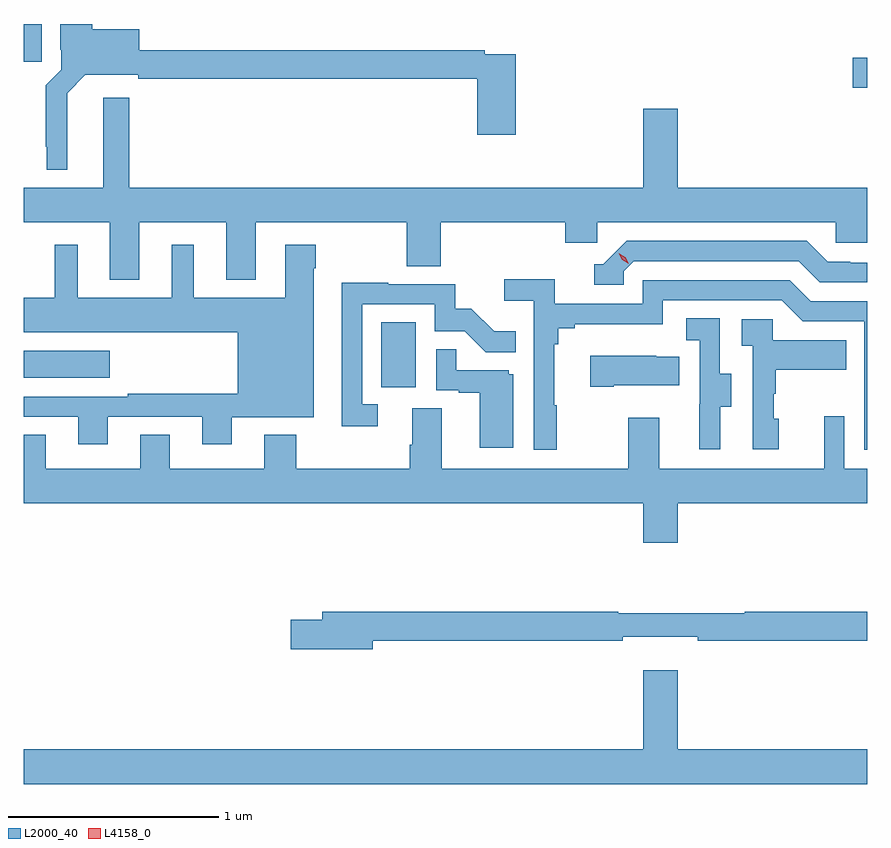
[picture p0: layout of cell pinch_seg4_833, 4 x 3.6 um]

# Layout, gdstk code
import gdstk
lib = gdstk.Library(unit=1e-6, precision=1e-09)
def R(c, l, rs):  # rectangles x0, y0, x1, y1
    for r in rs: c.add(gdstk.rectangle(r[:2], r[2:], *l))
def P(c, l, *ps):  # polygons
    for p in ps: c.add(gdstk.Polygon(p, *l))
L2000_40 = (2000, 40)
L4158_0 = (4158, 0)

pinch_seg4_833 = lib.new_cell('pinch_seg4_833')
R(pinch_seg4_833, L2000_40, [(859.07,801.366,859.234,801.673), (857.375,801.41,857.782,801.538), (861.306,802.786,861.375,802.928), (857.375,802.908,857.461,803.088)])
P(pinch_seg4_833, L2000_40, [(857.581,802.76),(857.667,802.847),(857.919,802.847),(857.919,802.828),(859.526,802.828),(859.526,802.563),(859.709,802.563),(859.709,802.944),(859.562,802.944),(859.562,802.964),(857.923,802.964),(857.923,803.062),(857.699,803.062),(857.699,803.088),(857.549,803.088),(857.549,802.966),(857.553,802.966),(857.553,802.872),(857.479,802.798),(857.479,802.507),(857.483,802.507),(857.483,802.397),(857.581,802.397)],
  [(857.923,802.148),(858.335,802.148),(858.335,801.875),(858.475,801.875),(858.475,802.148),(859.192,802.148),(859.192,801.94),(859.352,801.94),(859.352,802.148),(859.943,802.148),(859.943,802.05),(860.094,802.05),(860.094,802.148),(861.225,802.148),(861.225,802.05),(861.375,802.05),(861.375,802.312),(860.476,802.312),(860.476,802.687),(860.312,802.687),(860.312,802.312),(857.876,802.312),(857.876,802.738),(857.753,802.738),(857.753,802.312),(857.375,802.312),(857.375,802.148),(857.783,802.148),(857.783,801.875),(857.923,801.875)],
  [(860.22,801.915),(860.268,801.963),(861.051,801.963),(861.15,801.864),(861.375,801.864),(861.375,801.957),(861.294,801.957),(861.294,801.96),(861.187,801.96),(861.088,802.059),(860.235,802.059),(860.124,801.948),(860.081,801.948),(860.081,801.852),(860.22,801.852)],
  [(857.773,801.225),(858.221,801.225),(858.221,801.096),(858.361,801.096),(858.361,801.224),(858.751,801.224),(858.751,801.929),(858.759,801.929),(858.759,802.042),(858.614,802.042),(858.614,801.79),(858.181,801.79),(858.181,802.042),(858.077,802.042),(858.077,801.79),(857.632,801.79),(857.632,802.042),(857.522,802.042),(857.522,801.79),(857.375,801.79),(857.375,801.626),(858.389,801.626),(858.389,801.334),(857.869,801.334),(857.869,801.321),(857.375,801.321),(857.375,801.225),(857.633,801.225),(857.633,801.096),(857.773,801.096)],
  [(859.903,801.281),(859.891,801.281),(859.891,801.569),(859.91,801.569),(859.91,801.646),(859.987,801.646),(859.987,801.665),(860.406,801.665),(860.406,801.777),(860.97,801.777),(861.069,801.678),(861.36,801.678),(861.36,801.069),(861.375,801.069),(861.375,801.774),(861.106,801.774),(861.007,801.873),(860.31,801.873),(860.31,801.762),(859.892,801.762),(859.892,801.878),(859.653,801.878),(859.653,801.776),(859.794,801.776),(859.794,801.069),(859.903,801.069)],
  [(859.054,801.285),(858.981,801.285),(858.981,801.759),(859.323,801.759),(859.323,801.63),(859.467,801.63),(859.565,801.532),(859.709,801.532),(859.709,801.631),(859.605,801.631),(859.498,801.738),(859.422,801.738),(859.422,801.855),(859.103,801.855),(859.103,801.86),(858.884,801.86),(858.884,801.18),(859.054,801.18)],
  [(860.677,801.274),(860.731,801.274),(860.731,801.429),(860.676,801.429),(860.676,801.692),(860.517,801.692),(860.517,801.589),(860.58,801.589),(860.58,801.285),(860.579,801.285),(860.579,801.072),(860.677,801.072)],
  [(860.956,801.216),(860.931,801.216),(860.931,801.335),(860.941,801.335),(860.941,801.449),(861.275,801.449),(861.275,801.589),(860.928,801.589),(860.928,801.687),(860.781,801.687),(860.781,801.563),(860.832,801.563),(860.832,801.072),(860.956,801.072)],
  [(859.696,801.426),(859.674,801.426),(859.674,801.447),(859.427,801.447),(859.427,801.545),(859.332,801.545),(859.332,801.351),(859.439,801.351),(859.439,801.339),(859.538,801.339),(859.538,801.078),(859.696,801.078)],
  [(860.173,801.374),(860.483,801.374),(860.483,801.511),(860.375,801.511),(860.375,801.514),(860.061,801.514),(860.061,801.367),(860.173,801.367)],
  [(860.312,800.628),(860.476,800.628),(860.476,800.816),(861.375,800.816),(861.375,800.98),(861.267,800.98),(861.267,801.229),(861.17,801.229),(861.17,800.98),(860.389,800.98),(860.389,801.22),(860.242,801.22),(860.242,800.98),(859.357,800.98),(859.357,801.266),(859.217,801.266),(859.217,801.092),(859.205,801.092),(859.205,800.98),(858.668,800.98),(858.668,801.139),(858.515,801.139),(858.515,800.98),(858.067,800.98),(858.067,801.14),(857.927,801.14),(857.927,800.98),(857.479,800.98),(857.479,801.14),(857.375,801.14),(857.375,800.816),(860.312,800.816)],
  [(859.03,800.164),(860.216,800.164),(860.216,800.183),(860.572,800.183),(860.572,800.164),(861.375,800.164),(861.375,800.3),(860.795,800.3),(860.795,800.293),(860.195,800.293),(860.195,800.3),(858.791,800.3),(858.791,800.264),(858.642,800.264),(858.642,800.122),(859.03,800.122)],
  [(861.375,799.648),(860.476,799.648),(860.476,800.023),(860.312,800.023),(860.312,799.648),(857.375,799.648),(857.375,799.484),(861.375,799.484)])
P(pinch_seg4_833, L4158_0, [(860.245,801.95),(860.214,801.969),(860.197,802.001),(860.197,802.001),(860.197,802.001),(860.228,801.982),(860.245,801.95),(860.245,801.95)])

lib.write_gds('pinch_seg4_833.gds')
